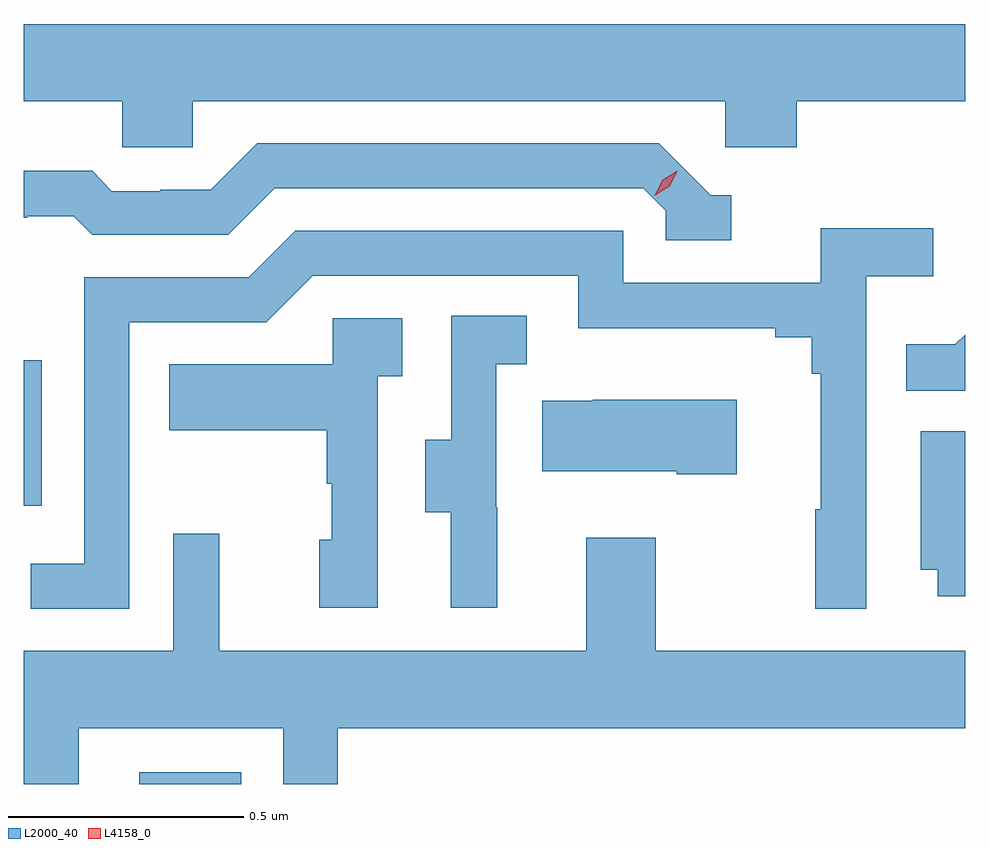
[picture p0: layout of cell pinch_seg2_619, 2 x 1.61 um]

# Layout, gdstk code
import gdstk
lib = gdstk.Library(unit=1e-6, precision=1e-09)
def R(c, l, rs):  # rectangles x0, y0, x1, y1
    for r in rs: c.add(gdstk.rectangle(r[:2], r[2:], *l))
def P(c, l, *ps):  # polygons
    for p in ps: c.add(gdstk.Polygon(p, *l))
L2000_40 = (2000, 40)
L4158_0 = (4158, 0)

pinch_seg2_619 = lib.new_cell('pinch_seg2_619')
R(pinch_seg2_619, L2000_40, [(1058.583,606.225,1058.8,606.25), (1058.338,606.816,1058.376,607.126)])
P(pinch_seg2_619, L2000_40, [(1058.697,607.676),(1059.828,607.676),(1059.828,607.578),(1059.98,607.578),(1059.98,607.676),(1060.338,607.676),(1060.338,607.84),(1058.338,607.84),(1058.338,607.676),(1058.547,607.676),(1058.547,607.578),(1058.697,607.578)],
  [(1059.841,607.476),(1059.798,607.476),(1059.687,607.587),(1058.834,607.587),(1058.735,607.488),(1058.628,607.488),(1058.628,607.485),(1058.525,607.485),(1058.483,607.528),(1058.338,607.528),(1058.338,607.428),(1058.345,607.428),(1058.345,607.431),(1058.444,607.431),(1058.483,607.392),(1058.772,607.392),(1058.871,607.491),(1059.654,607.491),(1059.702,607.443),(1059.702,607.38),(1059.841,607.38)],
  [(1058.562,607.206),(1058.853,607.206),(1058.952,607.305),(1059.516,607.305),(1059.516,607.193),(1059.935,607.193),(1059.935,607.174),(1060.012,607.174),(1060.012,607.097),(1060.031,607.097),(1060.031,606.809),(1060.02,606.809),(1060.02,606.597),(1060.128,606.597),(1060.128,607.304),(1060.27,607.304),(1060.27,607.406),(1060.031,607.406),(1060.031,607.29),(1059.612,607.29),(1059.612,607.401),(1058.915,607.401),(1058.816,607.302),(1058.466,607.302),(1058.466,606.693),(1058.353,606.693),(1058.353,606.597),(1058.562,606.597)],
  [(1059.344,606.813),(1059.342,606.813),(1059.342,607.117),(1059.406,607.117),(1059.406,607.22),(1059.246,607.22),(1059.246,606.957),(1059.191,606.957),(1059.191,606.802),(1059.245,606.802),(1059.245,606.6),(1059.344,606.6)],
  [(1059.09,607.091),(1059.142,607.091),(1059.142,607.215),(1058.994,607.215),(1058.994,607.117),(1058.647,607.117),(1058.647,606.977),(1058.982,606.977),(1058.982,606.863),(1058.992,606.863),(1058.992,606.744),(1058.966,606.744),(1058.966,606.6),(1059.09,606.6)],
  [(1060.338,607.18),(1060.317,607.159),(1060.213,607.159),(1060.213,607.061),(1060.338,607.061)],
  [(1059.853,607.042),(1059.547,607.042),(1059.547,607.039),(1059.439,607.039),(1059.439,606.89),(1059.725,606.89),(1059.725,606.883),(1059.853,606.883)],
  [(1060.338,606.975),(1060.244,606.975),(1060.244,606.68),(1060.28,606.68),(1060.28,606.624),(1060.338,606.624)],
  [(1058.455,606.344),(1058.889,606.344),(1058.889,606.225),(1059.005,606.225),(1059.005,606.344),(1060.338,606.344),(1060.338,606.508),(1059.681,606.508),(1059.681,606.748),(1059.533,606.748),(1059.533,606.508),(1058.753,606.508),(1058.753,606.757),(1058.655,606.757),(1058.655,606.508),(1058.338,606.508),(1058.338,606.225),(1058.455,606.225)])
P(pinch_seg2_619, L4158_0, [(1059.679,607.476),(1059.679,607.476),(1059.695,607.509),(1059.726,607.528),(1059.726,607.528),(1059.726,607.528),(1059.71,607.495),(1059.68,607.476)])

lib.write_gds('pinch_seg2_619.gds')
